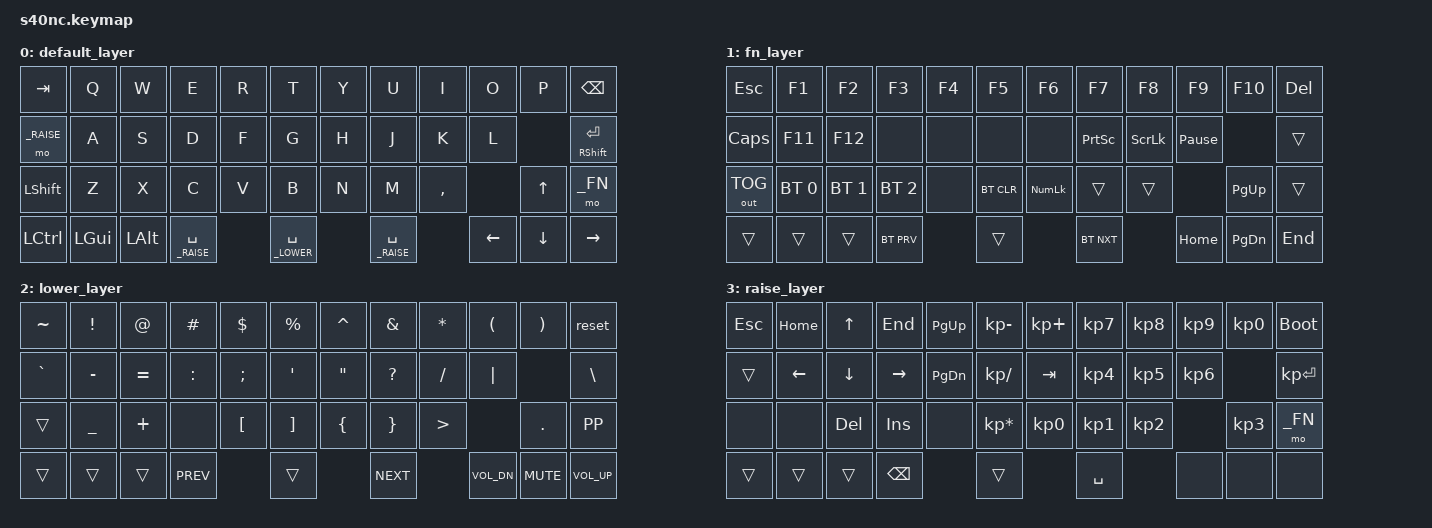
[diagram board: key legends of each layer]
/*
 * Copyright (c) 2021 Nick Winans
 *
 * SPDX-License-Identifier: MIT
 */

#include <behaviors.dtsi>
#include <dt-bindings/zmk/keys.h>
#include <dt-bindings/zmk/bt.h>
#include <dt-bindings/zmk/outputs.h>
#include <dt-bindings/zmk/reset.h>

#define _BASE   0
#define _FN     1
#define _LOWER  2
#define _RAISE  3

#define KP_DIV KP_DIVIDE
#define KP_MULT KP_MULTIPLY

/ {
	keymap {
		compatible = "zmk,keymap";
		
		default_layer {
			bindings = <
                &kp TAB       &kp Q        &kp W          &kp E            &kp R       &kp T          &kp Y       &kp U      &kp I     &kp O     &kp P      &kp BSPC                
                &mo _RAISE    &kp A        &kp S          &kp D            &kp F       &kp G          &kp H       &kp J      &kp K     &kp L                &mt RSHFT ENTER                
                &kp LSHFT     &kp Z        &kp X          &kp C            &kp V       &kp B          &kp N       &kp M      &kp COMMA           &kp UP     &mo _FN
                &kp LCTRL     &kp LGUI     &kp LALT       &lt _RAISE SPACE             &lt _LOWER SPACE           &lt _RAISE SPACE     &kp LEFT  &kp DOWN   &kp RIGHT
            >;
		};

		fn_layer {
			bindings = <
                &kp ESC       &kp F1        &kp F2        &kp F3            &kp F4     &kp F5         &kp F6      &kp F7     &kp F8    &kp F9    &kp F10     &kp DEL 
                &kp CAPS      &kp F11       &kp F12       &none             &none      &none          &none       &kp PSCRN  &kp SLCK  &kp PAUSE_BREAK       &trans
                &out OUT_TOG  &bt BT_SEL 0  &bt BT_SEL 1  &bt BT_SEL 2      &none      &bt BT_CLR     &kp KP_NUM  &trans     &trans              &kp PG_UP   &trans
                &trans        &trans        &trans        &bt BT_PRV                   &trans                     &bt BT_NXT           &kp HOME  &kp PG_DN   &kp END
			>;
		};
        
        lower_layer {
			bindings = <
                &kp TILDE     &kp EXCL      &kp AT        &kp HASH          &kp DLLR   &kp PRCNT      &kp CARET   &kp AMPS   &kp STAR  &kp LPAR  &kp RPAR   &reset
                &kp GRAVE     &kp MINUS     &kp EQUAL     &kp COLON         &kp SEMI   &kp SQT        &kp DQT     &kp QMARK  &kp FSLH  &kp PIPE             &kp BSLH
                &trans        &kp UNDER     &kp PLUS      &none             &kp LBKT   &kp RBKT       &kp LBRC    &kp RBRC   &kp GT              &kp DOT    &kp K_PP
                &trans        &trans        &trans        &kp K_PREV                   &trans                     &kp K_NEXT        &kp K_VOL_DN &kp K_MUTE &kp K_VOL_UP
			>;
		};
        
        raise_layer {
			bindings = <
                &kp ESC       &kp HOME      &kp UP        &kp END            &kp PG_UP &kp KP_MINUS   &kp KP_PLUS &kp KP_N7  &kp KP_N8 &kp KP_N9 &kp KP_N0  &bootloader
                &trans        &kp LEFT      &kp DOWN      &kp RIGHT          &kp PG_DN &kp KP_DIV     &kp TAB     &kp KP_N4  &kp KP_N5 &kp KP_N6            &kp KP_ENTER
                &none         &none         &kp DEL       &kp INS            &none     &kp KP_MULT    &kp KP_N0   &kp KP_N1  &kp KP_N2           &kp KP_N3  &mo _FN 
                &trans        &trans        &trans        &kp BACKSPACE                &trans                     &kp SPACE            &none     &none      &none
			>;
		};
	};
};
